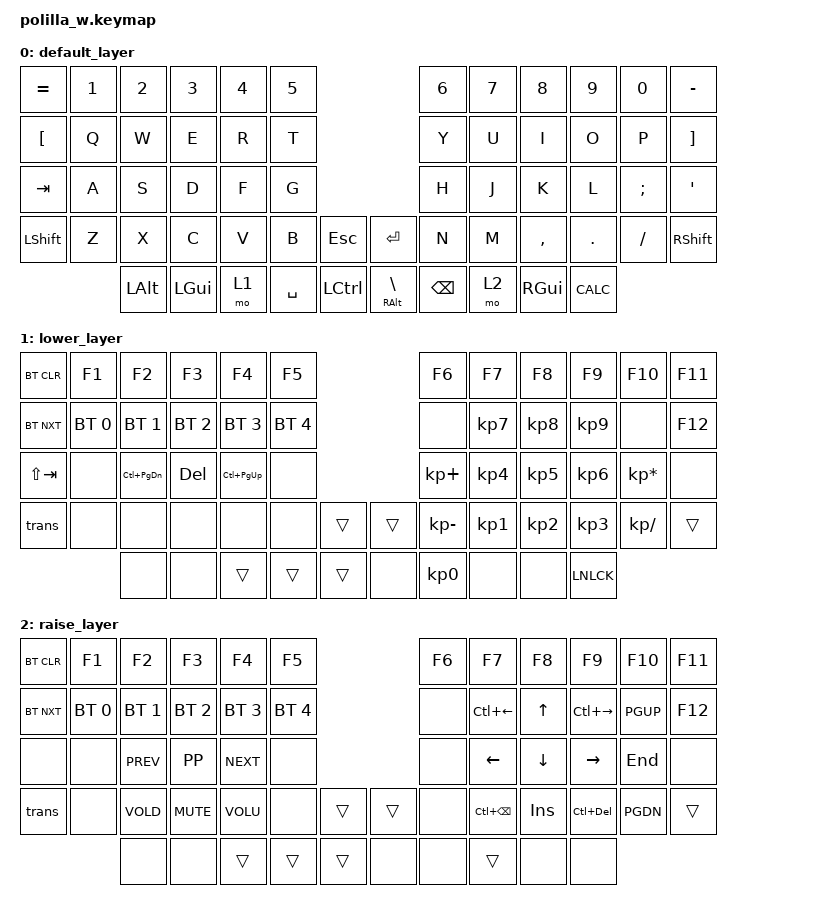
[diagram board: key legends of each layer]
/*
 * Copyright (c) 2020 The ZMK Contributors
 *
 * SPDX-License-Identifier: MIT
 */

#include <behaviors.dtsi>
#include <dt-bindings/zmk/keys.h>
#include <dt-bindings/zmk/bt.h>

/ {
	keymap {
		compatible = "zmk,keymap";

		default_layer {
// ,-----------------------------------,              ,-----------------------------------,
// |  =  |  1  |  2  |  3  |  4  |  5  |              |  6  |  7  |  8  |  9  |  0  |  -  |
// |  [  |  Q  |  W  |  E  |  R  |  T  |              |  Y  |  U  |  I  |  O  |  P  |  ]  |
// | TAB |  A  |  S  |  D  |  F  |  G  |-----,  ,-----|  H  |  J  |  K  |  L  |  ;  |  '  |
// | SFT |  Z  |  X  |  C  |  V  |  B  | ESC |  | ENT |  N  |  M  |  ,  |  .  |  /  | SFT |
// '-----------| LAL | GUI | LOW | SPC | CTL |  | RAL | RAI | BSP | GUI | CLC |-----------'
//             '-----------------------------'  '-----------------------------'
			bindings = <
&kp EQUAL   &kp N1      &kp N2      &kp N3      &kp N4      &kp N5                              &kp N6      &kp N7      &kp N8      &kp N9      &kp N0      &kp MINUS
&kp LBKT    &kp Q       &kp W       &kp E       &kp R       &kp T                               &kp Y       &kp U       &kp I       &kp O       &kp P       &kp RBKT
&kp TAB     &kp A       &kp S       &kp D       &kp F       &kp G                               &kp H       &kp J       &kp K       &kp L       &kp SEMI    &kp SQT
&kp LSHFT   &kp Z       &kp X       &kp C       &kp V       &kp B       &kp ESC     &kp RET     &kp N       &kp M       &kp COMMA   &kp DOT     &kp FSLH    &kp RSHFT
                        &kp LALT    &kp LGUI    &mo 1       &kp SPACE   &kp LCTL    &mt RALT BSLH &kp BSPC  &mo 2       &kp RGUI    &kp K_CALC
			>;
		};

		lower_layer {
// ,-----------------------------------,              ,-----------------------------------,
// |BTCLR|  F1 |  F2 |  F3 |  F4 |  F5 |              |  F6 |  F7 |  F8 |  F9 | F10 | F11 |
// |BTNXT| BT0 | BT1 | BT2 | BT3 | BT4 |              | --- |  7  |  8  |  9  | --- | F12 |
// |S-TAB| --- |PRETB| DEL |NXTTB| --- |-----,  ,-----|  +  |  4  |  5  |  6  |  *  | --- |
// |     | --- | --- | --- | --- |     |     |  |     |  -  |  1  |  2  |  3  |  /  |     |
// '-----------| --- | --- |     |     |     |  | --- |  0  | --- | --- | NLK |-----------'
//             '-----------------------------'  '-----------------------------'
			bindings = <
&bt BT_CLR  &kp F1      &kp F2      &kp F3      &kp F4      &kp F5                              &kp F6      &kp F7      &kp F8      &kp F9      &kp F10     &kp F11
&bt BT_NXT  &bt BT_SEL 0 &bt BT_SEL 1 &bt BT_SEL 2 &bt BT_SEL 3 &bt BT_SEL 4                    &none       &kp KP_N7   &kp KP_N8   &kp KP_N9   &none       &kp F12
&kp LS(TAB) &none       &kp LC(PG_DN) &kp DEL     &kp LC(PG_UP) &none                           &kp KP_PLUS &kp KP_N4   &kp KP_N5   &kp KP_N6   &kp KP_MULTIPLY &none
&kp trans   &none       &none       &none       &none       &none       &trans      &trans      &kp KP_MINUS &kp KP_N1   &kp KP_N2   &kp KP_N3  &kp KP_DIVIDE &trans
                        &none       &none       &trans      &trans      &trans      &none       &kp KP_N0   &none       &none       &kp LNLCK
			>;
		};

		raise_layer {
// ,-----------------------------------,              ,-----------------------------------,
// |BTCLR|  F1 |  F2 |  F3 |  F4 |  F5 |              |  F6 |  F7 |  F8 |  F9 | F10 | F11 |
// |BTNXT| BT0 | BT1 | BT2 | BT3 | BT4 |              | --- | PREV|  UP | NEXT| PGUP| F12 |
// | --- | --- | PREV| PLAY| NEXT| --- |-----,  ,-----| HOME| LEFT| DOWN|RIGHT| END | --- |
// |     | --- | VOLD| MUTE| VOLU|     |     |  |     | --- | DELP| INS | DELN| PGDN|     |
// '-----------| --- | --- |     |     |     |  | --- | --- |     | --- | --- |-----------'
//             '-----------------------------'  '-----------------------------'
			bindings = <
&bt BT_CLR  &kp F1      &kp F2      &kp F3      &kp F4      &kp F5                              &kp F6      &kp F7      &kp F8      &kp F9      &kp F10     &kp F11
&bt BT_NXT  &bt BT_SEL 0 &bt BT_SEL 1 &bt BT_SEL 2 &bt BT_SEL 3 &bt BT_SEL 4                    &none       &kp LC(LEFT) &kp UP     &kp LC(RIGHT) &kp PGUP  &kp F12
&none       &none       &kp K_PREV  &kp K_PP    &kp K_NEXT  &none                           &none       &kp LEFT    &kp DOWN    &kp RIGHT   &kp END     &none
&kp trans   &none       &kp K_VOLD  &kp K_MUTE  &kp K_VOLU  &none       &trans      &trans      &none       &kp LC(BSPC) &kp INS    &kp LC(DEL) &kp PGDN    &trans
                        &none       &none       &trans      &trans      &trans      &none       &none       &trans       &none       &none
			>;
		};
	};
};
